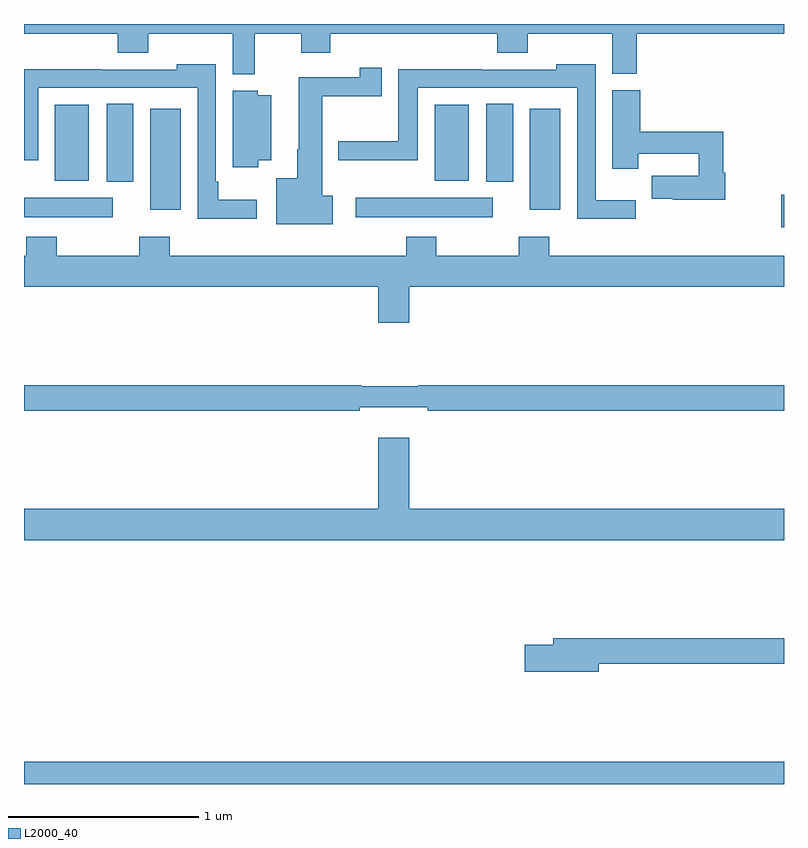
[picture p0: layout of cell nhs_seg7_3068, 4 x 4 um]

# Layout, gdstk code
import gdstk
lib = gdstk.Library(unit=1e-6, precision=1e-09)
def R(c, l, rs):  # rectangles x0, y0, x1, y1
    for r in rs: c.add(gdstk.rectangle(r[:2], r[2:], *l))
def P(c, l, *ps):  # polygons
    for p in ps: c.add(gdstk.Polygon(p, *l))
L2000_40 = (2000, 40)

nhs_seg7_3068 = lib.new_cell('nhs_seg7_3068')
R(nhs_seg7_3068, L2000_40, [(307,998,311,998.116), (310.986,1000.931,311,1001.102), (307,1000.982,307.468,1001.086), (308.745,1000.982,309.466,1001.086), (307.664,1001.022,307.825,1001.554), (309.662,1001.022,309.823,1001.554), (307.436,1001.171,307.576,1001.579), (309.434,1001.171,309.574,1001.579), (307.163,1001.174,307.342,1001.575), (309.161,1001.174,309.34,1001.575)])
P(nhs_seg7_3068, L2000_40, [(308.215,1001.948),(308.459,1001.948),(308.459,1001.849),(308.612,1001.849),(308.612,1001.948),(309.491,1001.948),(309.491,1001.849),(309.651,1001.849),(309.651,1001.948),(310.097,1001.948),(310.097,1001.737),(310.226,1001.737),(310.226,1001.948),(311,1001.948),(311,1002),(307,1002),(307,1001.948),(307.493,1001.948),(307.493,1001.849),(307.653,1001.849),(307.653,1001.948),(308.099,1001.948),(308.099,1001.735),(308.215,1001.735)],
  [(310.219,1001.072),(310.008,1001.072),(310.008,1001.788),(309.801,1001.788),(309.801,1001.76),(309.407,1001.76),(309.407,1001.762),(308.969,1001.762),(308.969,1001.382),(308.654,1001.382),(308.654,1001.282),(309.073,1001.282),(309.073,1001.664),(309.912,1001.664),(309.912,1000.976),(310.219,1000.976)],
  [(308.224,1001.074),(308.023,1001.074),(308.023,1001.17),(308.01,1001.17),(308.01,1001.788),(307.803,1001.788),(307.803,1001.76),(307.409,1001.76),(307.409,1001.762),(307,1001.762),(307,1001.282),(307.075,1001.282),(307.075,1001.664),(307.914,1001.664),(307.914,1000.976),(308.224,1000.976)],
  [(308.626,1001.096),(308.569,1001.096),(308.569,1001.62),(308.884,1001.62),(308.884,1001.77),(308.767,1001.77),(308.767,1001.719),(308.447,1001.719),(308.447,1001.34),(308.438,1001.34),(308.438,1001.188),(308.327,1001.188),(308.327,1000.946),(308.626,1000.946)],
  [(310.69,1001.216),(310.679,1001.216),(310.679,1001.432),(310.244,1001.432),(310.244,1001.652),(310.097,1001.652),(310.097,1001.238),(310.232,1001.238),(310.232,1001.316),(310.551,1001.316),(310.551,1001.201),(310.304,1001.201),(310.304,1001.079),(310.414,1001.079),(310.414,1001.074),(310.69,1001.074)],
  [(308.233,1001.282),(308.302,1001.282),(308.302,1001.626),(308.229,1001.626),(308.229,1001.65),(308.099,1001.65),(308.099,1001.246),(308.233,1001.246)],
  [(308.864,1000.428),(309.028,1000.428),(309.028,1000.616),(311,1000.616),(311,1000.78),(309.764,1000.78),(309.764,1000.879),(309.604,1000.879),(309.604,1000.78),(309.171,1000.78),(309.171,1000.879),(309.011,1000.879),(309.011,1000.78),(307.766,1000.78),(307.766,1000.879),(307.606,1000.879),(307.606,1000.78),(307.173,1000.78),(307.173,1000.879),(307.013,1000.879),(307.013,1000.78),(307,1000.78),(307,1000.616),(308.864,1000.616)],
  [(308.768,999.983),(309.124,999.983),(309.124,999.964),(311,999.964),(311,1000.1),(309.076,1000.1),(309.076,1000.093),(308.776,1000.093),(308.776,1000.1),(307,1000.1),(307,999.964),(308.768,999.964)],
  [(311,999.448),(309.028,999.448),(309.028,999.823),(308.864,999.823),(308.864,999.448),(307,999.448),(307,999.284),(311,999.284)],
  [(310.024,998.632),(311,998.632),(311,998.768),(309.785,998.768),(309.785,998.732),(309.636,998.732),(309.636,998.59),(310.024,998.59)])

lib.write_gds('nhs_seg7_3068.gds')
